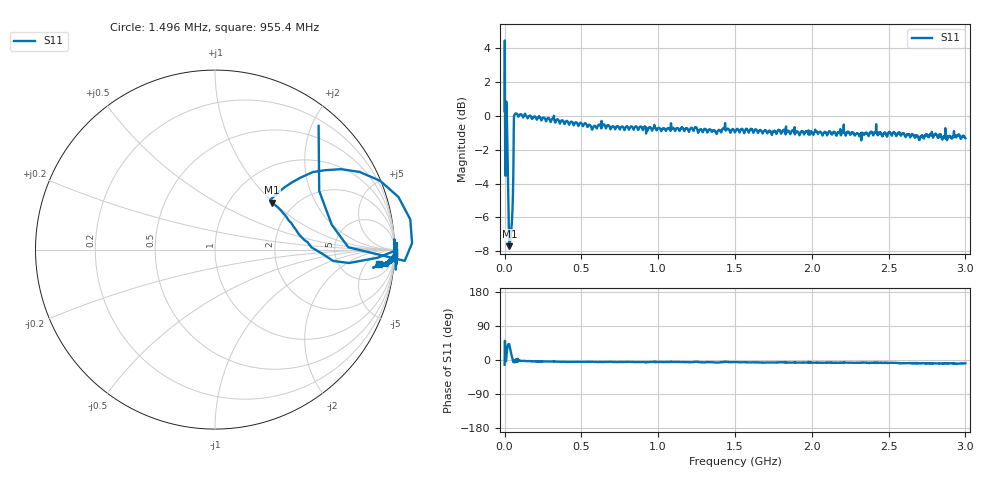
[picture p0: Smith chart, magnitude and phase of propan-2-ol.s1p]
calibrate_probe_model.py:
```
"""
Probe Calibration using Aperture Admittance Model (C0, Cf)
Comparison of Dual-Reference vs Single-Reference Calibration.

Model:
Y_meas = j*omega*Cf + j*omega*C0 * epsilon*

Modes:
1. Dual-Reference (Water + Iso): Solves for both C0 and Cf.
2. Single-Reference (Water): Assumes Cf=0, solves for C0.
3. Single-Reference (Iso): Assumes Cf=0, solves for C0.
"""

import numpy as np
import matplotlib.pyplot as plt
from pathlib import Path
import sys
from scipy.optimize import minimize

# Add parent directory to path for imports
sys.path.insert(0, str(Path(__file__).parent))
from ml_classifier.data_loader import parse_s1p_file

# =============================================================================
# DATA LOADING
# =============================================================================

def load_npl_isopropanol():
    """Load NPL reference data for isopropanol at 15C"""
    csv_path = Path("isopropanol_permittivity_15C_NPL.csv")
    if not csv_path.exists():
        raise FileNotFoundError(f"Could not find {csv_path}")
        
    data = np.genfromtxt(csv_path, delimiter=',', skip_header=1)
    return {
        'freq_hz': data[:, 0] * 1e9,
        'eps_complex': data[:, 1] - 1j * data[:, 3]
    }

def load_literature_water():
    """Load literature water permittivity data"""
    csv_path = Path("water_permittivity_literature.csv")
    if not csv_path.exists():
        raise FileNotFoundError(f"Could not find {csv_path}")
        
    data = np.genfromtxt(csv_path, delimiter=',', skip_header=1)
    return {
        'freq_hz': data[:, 0] * 1e9,
        'eps_complex': data[:, 3] - 1j * data[:, 4]
    }

def load_s1p_file(filepath):
    """Load S1P file and return frequency, magnitude (linear), phase (rad)"""
    freq_hz, s11_db, phase_deg = parse_s1p_file(filepath)
    return {
        'freq_hz': freq_hz,
        's11_mag': 10 ** (s11_db / 20),
        'phase_rad': np.deg2rad(phase_deg)
    }

def s11_to_admittance(s11_mag, phase_rad, y0=1/50.0):
    """Convert S11 to Admittance Y = (1-Gamma)/(1+Gamma) * Y0"""
    gamma = s11_mag * np.exp(1j * phase_rad)
    # Avoid division by zero
    gamma = np.where(gamma == -1, -0.999999, gamma)
    y = (1 - gamma) / (1 + gamma) * y0
    return y

def interpolate_to_freqs(target_freqs, source_data):
    """Interpolate source data (freq, complex) to target frequencies"""
    # Handle both dictionary with 'eps_complex' and raw S1P dicts
    if 'eps_complex' in source_data:
        val_real = np.interp(target_freqs, source_data['freq_hz'], np.real(source_data['eps_complex']))
        val_imag = np.interp(target_freqs, source_data['freq_hz'], np.imag(source_data['eps_complex']))
        return val_real + 1j * val_imag
    elif 's11_mag' in source_data:
        mag = np.interp(target_freqs, source_data['freq_hz'], source_data['s11_mag'])
        phase = np.interp(target_freqs, source_data['freq_hz'], source_data['phase_rad'])
        return s11_to_admittance(mag, phase)
    return None

# =============================================================================
# CALIBRATION ROUTINES
# =============================================================================

def calibrate_dual(npl_iso, lit_water, s1p_iso, s1p_water, freq_range=(0.1e9, 3e9)):
    """
    Solve for C0 and Cf using Water and Isopropanol standards.
    """
    # Use NPL frequencies as base grid
    mask = (npl_iso['freq_hz'] >= freq_range[0]) & (npl_iso['freq_hz'] <= freq_range[1])
    freqs = npl_iso['freq_hz'][mask]
    omega = 2 * np.pi * freqs
    
    # Interpolate everything to these frequencies
    eps_iso = interpolate_to_freqs(freqs, npl_iso)
    eps_water = interpolate_to_freqs(freqs, lit_water)
    y_iso = interpolate_to_freqs(freqs, s1p_iso)
    y_water = interpolate_to_freqs(freqs, s1p_water)
    
    # Solve system:
    # Y_w = jwCf + jwC0*eps_w
    # Y_i = jwCf + jwC0*eps_i
    # => Y_w - Y_i = jwC0(eps_w - eps_i)
    
    delta_y = y_water - y_iso
    delta_eps = eps_water - eps_iso
    
    c0 = delta_y / (1j * omega * delta_eps)
    cf = (y_water / (1j * omega)) - c0 * eps_water
    
    return {'type': 'Dual (Water+Iso)', 'freq_hz': freqs, 'c0': c0, 'cf': cf}

def calibrate_single(ref_std, s1p_std, name="Single", freq_range=(0.1e9, 3e9)):
    """
    Solve for C0 assuming Cf=0.
    Y = jwC0*eps => C0 = Y / (jw*eps)
    """
    mask = (ref_std['freq_hz'] >= freq_range[0]) & (ref_std['freq_hz'] <= freq_range[1])
    freqs = ref_std['freq_hz'][mask]
    omega = 2 * np.pi * freqs
    
    eps_ref = interpolate_to_freqs(freqs, ref_std)
    y_ref = interpolate_to_freqs(freqs, s1p_std)
    
    c0 = y_ref / (1j * omega * eps_ref)
    cf = np.zeros_like(c0)
    
    return {'type': f'Single ({name})', 'freq_hz': freqs, 'c0': c0, 'cf': cf}

# =============================================================================
# ANALYSIS & PLOTTING
# =============================================================================

def plot_c_comparison(cals, output_path):
    """Plot C0 and Cf for multiple calibrations"""
    fig, (ax1, ax2) = plt.subplots(2, 1, figsize=(10, 12))
    
    for cal in cals:
        freq_ghz = cal['freq_hz'] / 1e9
        lbl = cal['type']
        
        # Plot Real(C0) - The main capacitance
        ax1.plot(freq_ghz, np.real(cal['c0'])*1e15, label=f"{lbl} (Real)", linewidth=2)
        # Optional: Plot Imag(C0) to show loss/error
        # ax1.plot(freq_ghz, np.imag(cal['c0'])*1e15, '--', label=f"{lbl} (Imag)", alpha=0.5)

        # Plot Real(Cf)
        ax2.plot(freq_ghz, np.real(cal['cf'])*1e15, label=f"{lbl} (Real)", linewidth=2)
    
    ax1.set_title("Aperture Capacitance C0")
    ax1.set_ylabel("Capacitance (fF)")
    ax1.legend()
    ax1.grid(True, alpha=0.3)
    
    ax2.set_title("Fringing Capacitance Cf")
    ax2.set_ylabel("Capacitance (fF)")
    ax2.set_xlabel("Frequency (GHz)")
    ax2.legend()
    ax2.grid(True, alpha=0.3)
    
    plt.tight_layout()
    plt.savefig(output_path, dpi=300)
    print(f"Saved C-value comparison to {output_path}")

def print_c_stats(cal):
    """Print mean values of C0 and Cf"""
    c0_mean = np.mean(cal['c0'])
    cf_mean = np.mean(cal['cf'])
    print(f"[{cal['type']}]")
    print(f"  Mean C0: {np.real(c0_mean)*1e15:.2f} + j{np.imag(c0_mean)*1e15:.2f} fF")
    print(f"  Mean Cf: {np.real(cf_mean)*1e15:.2f} + j{np.imag(cf_mean)*1e15:.2f} fF")
    print("-" * 40)

# =============================================================================
# MAIN
# =============================================================================

def main():
    print("="*80)
    print("PROBE PARAMETER EXTRACTION (C0, Cf)")
    print("="*80)
    
    # 1. Load Data
    try:
        npl_iso = load_npl_isopropanol()
        lit_water = load_literature_water()
        
        s1p_iso = load_s1p_file("Database/Isopropanol/propan-2-ol.s1p")
        s1p_water = load_s1p_file("Database/Water/DI-water.s1p")
    except Exception as e:
        print(f"Error loading files: {e}")
        return

    # 2. Run Calibrations
    print("\nCalculating Probe Parameters...")
    
    # Dual Reference
    cal_dual = calibrate_dual(npl_iso, lit_water, s1p_iso, s1p_water)
    
    # Single Reference (Water) - Assumes Cf=0
    cal_water = calibrate_single(lit_water, s1p_water, name="Water-Only")
    
    # Single Reference (Iso) - Assumes Cf=0
    cal_iso = calibrate_single(npl_iso, s1p_iso, name="Iso-Only")
    
    # 3. Output Stats
    print("\n--- Extracted Capacitance Values (Mean 0.1-3 GHz) ---")
    print_c_stats(cal_dual)
    print_c_stats(cal_water)
    print_c_stats(cal_iso)
    
    # 4. Plot Comparison
    output_dir = Path("demo_results")
    output_dir.mkdir(exist_ok=True)
    plot_c_comparison([cal_dual, cal_water, cal_iso], output_dir / "probe_C_values_comparison.png")

if __name__ == "__main__":
    main()
```
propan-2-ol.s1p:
# HZ S RI R 50
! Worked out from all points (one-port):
!   2020 points, 10 kHz to 3 GHz, reference 50 ohm
!   lowest |S11| = -7.7 dB at 31.21 MHz (marker M1), VSWR 2.40, Z = 77.9 + j49.1 ohm
!   |S11| at or under -10 dB: nowhere
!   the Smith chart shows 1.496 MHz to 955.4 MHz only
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10000  1.007 -0.2228
5953516  0.6506 0.1382
1.635467e7  0.806 0.4327
1.932643e7  0.6108 0.4421
2.378406e7  0.4275 0.3737
3.121346e7  0.3186 0.2618
3.715698e7  0.3822 0.2005
4.310049e7  0.4379 0.1281
6.39028e7  1.004 -0.0257
7.578983e7  1.013 0.0365
3.68508e8  0.9625 -0.0802
1.000007e9  0.9154 -0.0896
2.000003e9  0.8885 -0.1093
3e9  0.849 -0.1281
